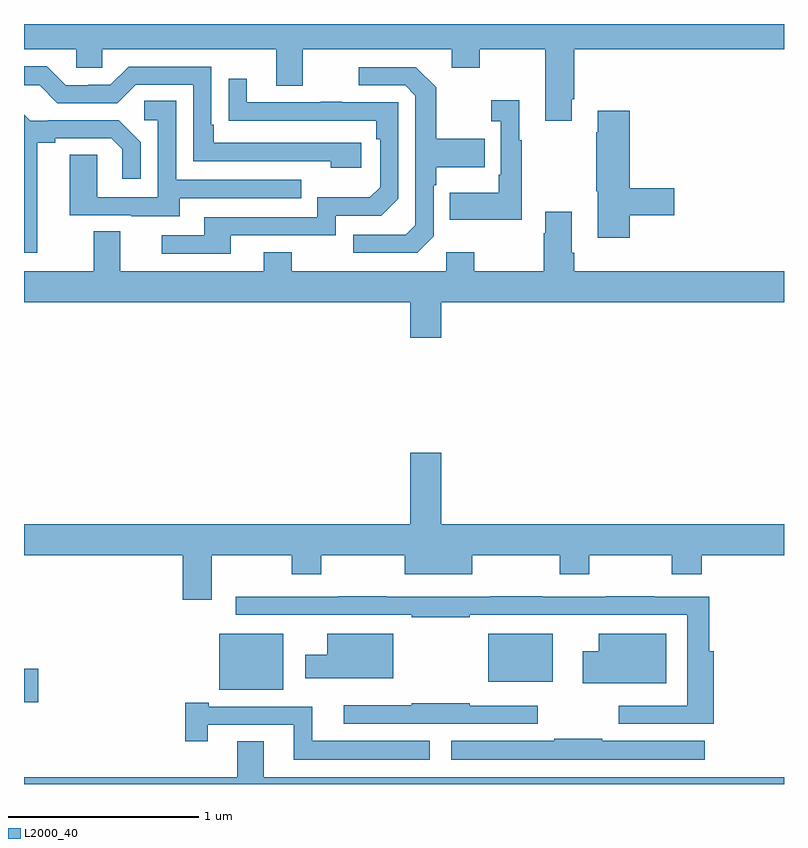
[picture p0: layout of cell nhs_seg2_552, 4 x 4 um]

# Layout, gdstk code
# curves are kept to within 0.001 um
import gdstk
lib = gdstk.Library(unit=1e-6, precision=1e-09)
def R(c, l, rs):  # rectangles x0, y0, x1, y1
    for r in rs: c.add(gdstk.rectangle(r[:2], r[2:], *l))
def P(c, l, *ps):  # polygons
    for p in ps: c.add(gdstk.Polygon(p, *l))
L2000_40 = (2000, 40)

nhs_seg2_552 = lib.new_cell('nhs_seg2_552')
R(nhs_seg2_552, L2000_40, [(139,612.23,139.075,612.407), (140.027,612.296,140.365,612.592), (141.443,612.338,141.784,612.592)])
P(nhs_seg2_552, L2000_40, [(139,615.668),(139.275,615.668),(139.275,615.57),(139.413,615.57),(139.413,615.668),(140.327,615.668),(140.327,615.474),(140.467,615.474),(140.467,615.668),(141.251,615.668),(141.251,615.569),(141.399,615.569),(141.399,615.668),(141.743,615.668),(141.743,615.291),(141.883,615.291),(141.883,615.403),(141.896,615.403),(141.896,615.668),(143,615.668),(143,615.8),(139,615.8)],
  [(140.776,615.174),(139.999,615.174),(139.999,615.271),(139.986,615.271),(139.986,615.576),(139.551,615.576),(139.455,615.48),(139.337,615.48),(139.337,615.477),(139.221,615.477),(139.121,615.577),(139,615.577),(139,615.477),(139.083,615.477),(139.176,615.384),(139.491,615.384),(139.587,615.48),(139.89,615.48),(139.89,615.078),(140.615,615.078),(140.615,615.044),(140.776,615.044)],
  [(141.156,614.682),(141.156,614.951),(141.169,614.951),(141.169,615.047),(141.425,615.047),(141.425,615.195),(141.169,615.195),(141.169,615.467),(141.063,615.573),(140.763,615.573),(140.763,615.477),(141.006,615.477),(141.06,615.423),(141.06,614.742),(141.009,614.691),(140.733,614.691),(140.733,614.595),(141.069,614.595)],
  [(140.089,614.688),(140.64,614.688),(140.64,614.79),(140.88,614.79),(140.97,614.88),(140.97,615.387),(140.675,615.387),(140.675,615.392),(140.563,615.392),(140.563,615.387),(140.173,615.387),(140.173,615.511),(140.077,615.511),(140.077,615.292),(140.854,615.291),(140.854,615.194),(140.874,615.194),(140.874,614.94),(140.821,614.887),(140.544,614.887),(140.544,614.784),(139.949,614.784),(139.949,614.688),(139.725,614.688),(139.725,614.592),(140.089,614.592)],
  [(141.619,615.187),(141.607,615.187),(141.607,615.4),(141.459,615.4),(141.459,615.287),(141.51,615.287),(141.51,615.007),(141.498,615.007),(141.498,614.911),(141.241,614.911),(141.241,614.771),(141.619,614.771)],
  [(139.819,614.883),(140.459,614.883),(140.459,614.979),(139.8,614.979),(139.8,615.395),(139.632,615.395),(139.632,615.294),(139.704,615.294),(139.704,614.889),(139.386,614.889),(139.386,615.113),(139.241,615.113),(139.241,614.793),(139.565,614.793),(139.565,614.789),(139.819,614.789)],
  [(142.187,614.794),(142.423,614.794),(142.423,614.936),(142.187,614.936),(142.187,615.343),(142.019,615.343),(142.019,615.23),(142.012,615.23),(142.012,614.919),(142.019,614.919),(142.019,614.676),(142.187,614.676)],
  [(139.069,615.176),(139.165,615.176),(139.165,615.198),(139.46,615.198),(139.517,615.141),(139.517,614.985),(139.614,614.985),(139.614,615.178),(139.498,615.294),(139.126,615.294),(139.126,615.291),(139.032,615.291),(139,615.323),(139,614.595),(139.069,614.595)],
  [(141.196,614.336),(143,614.336),(143,614.5),(141.896,614.5),(141.896,614.596),(141.883,614.596),(141.883,614.812),(141.743,614.812),(141.743,614.699),(141.736,614.699),(141.736,614.5),(141.369,614.5),(141.369,614.599),(141.222,614.599),(141.222,614.5),(140.409,614.5),(140.409,614.599),(140.261,614.599),(140.261,614.5),(139.507,614.5),(139.507,614.708),(139.367,614.708),(139.367,614.5),(139,614.5),(139,614.336),(141.032,614.336),(141.032,614.148),(141.196,614.148)],
  [(139.987,613.004),(140.41,613.004),(140.41,612.905),(140.565,612.905),(140.565,613.004),(141.005,613.004),(141.005,612.905),(141.358,612.905),(141.358,613.004),(141.82,613.004),(141.82,612.905),(141.975,612.905),(141.975,613.004),(142.408,613.004),(142.408,612.905),(142.568,612.905),(142.568,613.004),(143,613.004),(143,613.168),(141.196,613.168),(141.196,613.543),(141.032,613.543),(141.032,613.168),(139,613.168),(139,613.004),(139.835,613.004),(139.835,612.771),(139.987,612.771)],
  [(142.631,612.499),(142.607,612.499),(142.607,612.786),(142.319,612.786),(142.319,612.788),(142.063,612.788),(142.063,612.786),(141.731,612.786),(141.731,612.788),(141.454,612.788),(141.454,612.786),(140.909,612.786),(140.909,612.788),(140.653,612.788),(140.653,612.786),(140.115,612.786),(140.115,612.69),(141.04,612.69),(141.04,612.678),(141.347,612.678),(141.347,612.69),(142.491,612.69),(142.491,612.213),(142.131,612.213),(142.131,612.117),(142.631,612.117)],
  [(140.944,612.592),(140.597,612.592),(140.597,612.481),(140.48,612.481),(140.48,612.356),(140.944,612.356)],
  [(142.381,612.592),(142.025,612.592),(142.025,612.499),(141.941,612.499),(141.941,612.329),(142.381,612.329)],
  [(141.136,612.028),(140.518,612.028),(140.518,612.207),(139.972,612.207),(139.972,612.227),(139.849,612.227),(139.849,612.024),(139.966,612.024),(139.966,612.111),(140.42,612.111),(140.42,611.927),(141.136,611.927)],
  [(141.703,612.213),(141.347,612.213),(141.347,612.226),(141.04,612.226),(141.04,612.214),(140.682,612.214),(140.682,612.117),(141.703,612.117)],
  [(142.582,612.028),(142.043,612.028),(142.043,612.038),(141.79,612.038),(141.79,612.028),(141.249,612.028),(141.249,611.927),(142.582,611.927)],
  [(143,611.836),(140.263,611.836),(140.263,612.026),(140.123,612.026),(140.123,611.836),(139,611.836),(139,611.8),(143,611.8)])

lib.write_gds('nhs_seg2_552.gds')
